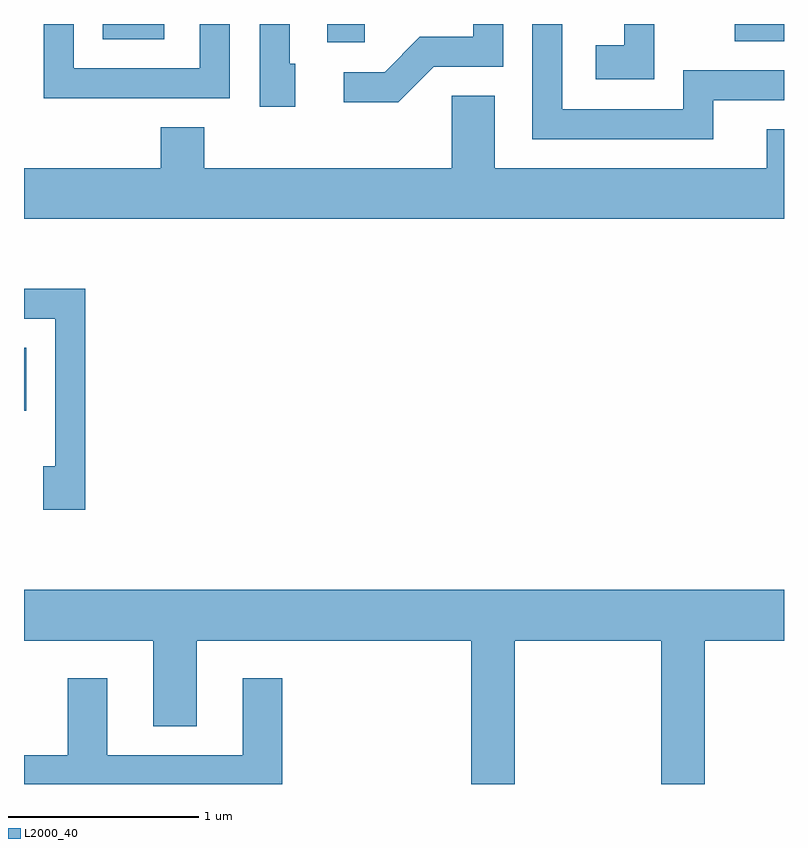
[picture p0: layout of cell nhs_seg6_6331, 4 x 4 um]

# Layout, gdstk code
import gdstk
lib = gdstk.Library(unit=1e-6, precision=1e-09)
def R(c, l, rs):  # rectangles x0, y0, x1, y1
    for r in rs: c.add(gdstk.rectangle(r[:2], r[2:], *l))
def P(c, l, *ps):  # polygons
    for p in ps: c.add(gdstk.Polygon(p, *l))
L2000_40 = (2000, 40)

nhs_seg6_6331 = lib.new_cell('nhs_seg6_6331')
R(nhs_seg6_6331, L2000_40, [(377.611,1560.126,377.624,1560.459), (379.206,1562.066,379.404,1562.162), (381.351,1562.071,381.611,1562.162), (378.026,1562.081,378.349,1562.162)])
P(nhs_seg6_6331, L2000_40, [(378.694,1562.162),(378.536,1562.162),(378.536,1561.929),(377.874,1561.929),(377.874,1562.162),(377.716,1562.162),(377.716,1561.771),(378.694,1561.771)],
  [(381.239,1561.761),(381.611,1561.761),(381.611,1561.919),(381.081,1561.919),(381.081,1561.714),(380.444,1561.714),(380.444,1562.162),(380.286,1562.162),(380.286,1561.556),(381.239,1561.556)],
  [(379.039,1561.954),(379.009,1561.954),(379.009,1562.162),(378.851,1562.162),(378.851,1561.726),(379.039,1561.726)],
  [(380.929,1562.162),(380.771,1562.162),(380.771,1562.049),(380.621,1562.049),(380.621,1561.871),(380.929,1561.871)],
  [(379.767,1561.936),(380.134,1561.936),(380.134,1562.162),(379.976,1562.162),(379.976,1562.094),(379.694,1562.094),(379.509,1561.909),(379.293,1561.909),(379.293,1561.751),(379.582,1561.751)],
  [(381.611,1561.609),(381.521,1561.609),(381.521,1561.404),(380.089,1561.404),(380.089,1561.784),(379.861,1561.784),(379.861,1561.404),(378.559,1561.404),(378.559,1561.619),(378.331,1561.619),(378.331,1561.404),(377.611,1561.404),(377.611,1561.136),(381.611,1561.136)],
  [(377.934,1560.769),(377.611,1560.769),(377.611,1560.611),(377.776,1560.611),(377.776,1559.834),(377.711,1559.834),(377.711,1559.606),(377.934,1559.606)],
  [(380.194,1558.916),(380.966,1558.916),(380.966,1558.162),(381.194,1558.162),(381.194,1558.916),(381.611,1558.916),(381.611,1559.184),(377.611,1559.184),(377.611,1558.916),(378.291,1558.916),(378.291,1558.466),(378.519,1558.466),(378.519,1558.916),(379.966,1558.916),(379.966,1558.162),(380.194,1558.162)],
  [(378.969,1558.719),(378.761,1558.719),(378.761,1558.314),(378.049,1558.314),(378.049,1558.719),(377.841,1558.719),(377.841,1558.314),(377.611,1558.314),(377.611,1558.162),(378.969,1558.162)])

lib.write_gds('nhs_seg6_6331.gds')
